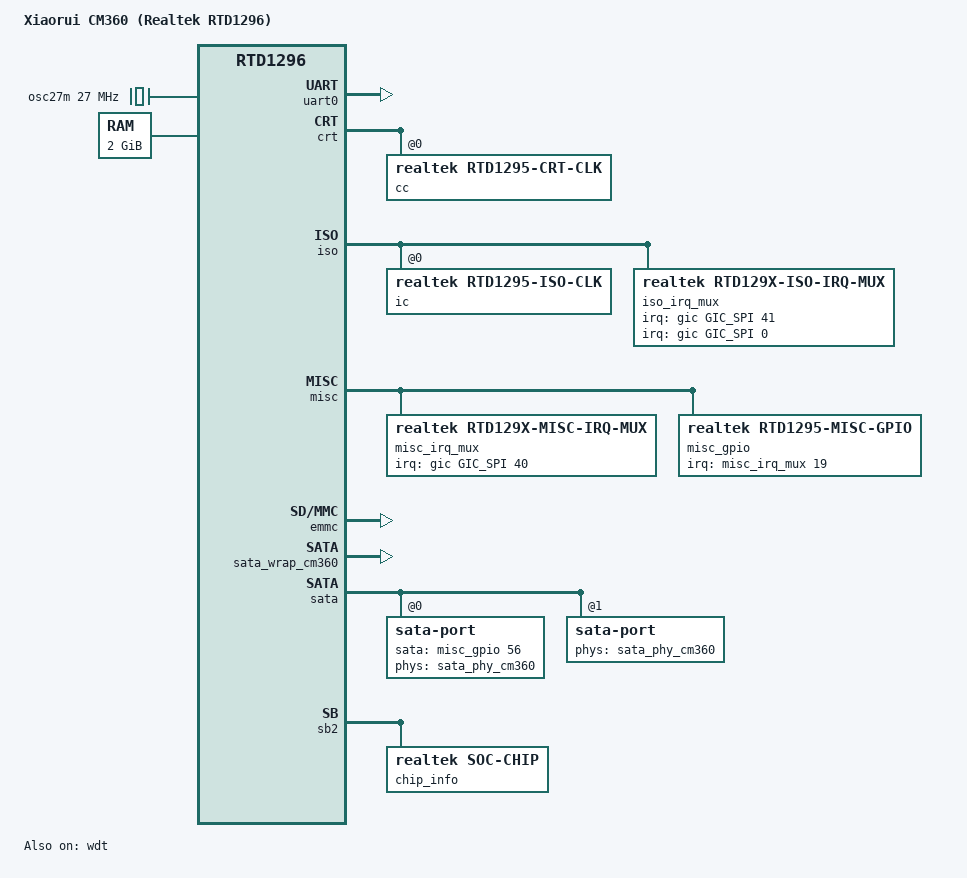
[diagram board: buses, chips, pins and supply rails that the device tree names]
// SPDX-License-Identifier: (GPL-2.0-or-later OR BSD-2-Clause)
/*
 * 小睿 CM360 —— Realtek RTD1296 (4x Cortex-A53, 2 GiB DDR4, 8 GiB eMMC)
 *
 * 板级 DTS：面向 XpressReal/linux 的 v6.6.54-xpressreal-t3 内核树。
 *
 * ─────────────────────────────────────────────────────────────────────
 * 为什么需要这份文件
 * ─────────────────────────────────────────────────────────────────────
 * 该 6.6 树是 Realtek 的「全家桶」驱动树：RTD119x/129x/139x/13xx/16xx 的
 * 驱动全部已经移植到 6.6（含 CCF 时钟、pinctrl、gpio、eMMC/SD/SATA/GMAC）。
 * 但 129x 的【板级 DTS】仍停留在上游主线那份极简骨架：
 *   rtd129x.dtsi 里只有 GIC / 几个 syscon / dw-low-reset / uart0~2 / wdt，
 *   没有任何存储、网络、时钟控制器、pinctrl、gpio 节点。
 *   rtd1295-*.dts / rtd1296-ds418.dts 也只开了 uart0，没开外设。
 * 所以「驱动齐、DTS 空」——本文件要做的就是把 1296 的外设实例化出来。
 *
 * ─────────────────────────────────────────────────────────────────────
 * 数据来源（唯一依据，勿凭记忆改）
 * ─────────────────────────────────────────────────────────────────────
 *   [V] = ~/WorkBuddy/.../rtd1296-fnnas/stage0/original-dtb.dts.txt
 *         原厂固件 DTB 反编译（compatible = "Realtek,rtd-1296"，
 *         chosen 里带 androidboot.hardware=kylin / syno_version=SYNO-DTB-DSM6-1-15157，
 *         即 CM360 = 厂商代号 kylin，出厂跑的是群晖 DSM 内核）
 *   [T] = 本树 arch/arm64/boot/dts/realtek/rtd13xx.dtsi
 *         同族节点模板（但 13xx 是 A55/PSCI/GIC@0xff100000，只能借结构不能照搬）
 *   [D] = 本树各驱动的 probe 代码（决定 DT 属性名与必需性）
 *
 * ─────────────────────────────────────────────────────────────────────
 * 第一版范围（刻意保守：只打开高置信度、且互不依赖的三项）
 * ─────────────────────────────────────────────────────────────────────
 *   已启用：cc(CRT 时钟/复位)  ic(ISO 时钟/复位)  nic(GMAC/RTL8168)
 *           sata(ahci_rtk + rbus 0x3ff60 的 sata-wrap syscon)  ← 2026-10-04 加入
 *           emmc(rtkemmc.c, compatible realtek,rtd1295-emmc)   ← 2026-10-05 换驱动
 *   已禁用（保留金坐标，待逐项验证后再翻 status）：sd / sdio
 *
 *   参考新增：[V2] = 厂商内核 BPI-W2-bsp 里的官方 1296 DTSI
 *         linux-rtk/arch/arm64/boot/dts/realtek/rtd129x/rtd-1296-sata.dtsi
 *         （Realtek 官方写法，SATA 节点的权威模板，本文件 SATA 段落照它对齐）
 *         [V3] = jjm2473/rtd1295-next（Linux 5.9）arch/arm64/boot/dts/
 *         realtek/rtd129x.dtsi —— 129x eMMC 节点的权威模板（本文件 §3 照它对齐）
 *
 *   SD/SDIO 仍不开的理由：
 *     - `sd`(rtk-sdmmc.c) 用 sd-power/sd-wp/sd-cd 三个 GPIO 做必需资源，
 *       而 1296 的 GPIO 控制器要挂在 irq-mux 上，irq-mux 的 129x 语义尚未
 *       在硬件上验证过。
 *     - eMMC 已从 dw_mmc_cqe-rtk.c 换成 rtkemmc.c（见 §3 证据链：
 *       16xxb 驱动的 pad 寄存器偏移在 1296 上全部落空 → deadbeef）。
 */

/dts-v1/;

#include "rtd1296.dtsi"			/* -> rtd129x.dtsi + A53 cpus + timer */
#include <dt-bindings/clock/rtd1295-clk.h>
#include <dt-bindings/reset/rtd1295-reset.h>
#include <dt-bindings/gpio/gpio.h>
#include <dt-bindings/interrupt-controller/arm-gic.h>

/ {
	compatible = "xpressreal,cm360", "realtek,rtd1296";
	model = "Xiaorui CM360 (Realtek RTD1296)";

	/*
	 * 27 MHz 系统晶振（板载无源晶振）。
	 *
	 * ★ 必须提供 "osc27m"（小写 m）这个名字：
	 *   clk-rtd1295-cc.c 里 pll_scpu/pll_bus/pll_dcsb/pll_ddsa/pll_ddsb/
	 *   pll_gpu/pll_ve1/pll_ve2 全部写成 CLK_HW_INIT(..., "osc27m", ...)，
	 *   clk-rtd1295-ic.c 里 clk_en_ur0/i2c0/i2c1 也是 "osc27m"。
	 *   而 rtd129x.dtsi 里已有的 osc27M 用的是【大写 M】，
	 *   名字对不上 -> 那些时钟会挂不上父节点（clk_register 失败/rate=0）。
	 *   所以这里再补一个同名（小写）的固定时钟。两个 fixed-clock 不冲突。
	 */
	osc27m: osc27m {
		compatible = "fixed-clock";
		clock-frequency = <27000000>;
		#clock-cells = <0>;
		clock-output-names = "osc27m";
	};

	/* [V] 厂商 DTB: 0x0 + 0x7ffe1000 (boot ROM 之后到 2 GiB) */
	memory@1f000 {
		device_type = "memory";
		reg = <0x1f000 0x7ffe1000>;
	};

	aliases {
		serial0 = &uart0;
	};

	chosen {
		stdout-path = "serial0:115200n8";
		/*
		 * earlycon 的第 5 个参数（时钟 27 MHz）不能省：
		 * uart0 真实时钟 = 27 MHz（[V] serial0@98007800 的
		 * clock-frequency = 0x019bfcc0 = 27000000）。不写它，earlycon 会按
		 * 默认 1.8432 MHz*16 = 29.4912 MHz 算分频，误差 9.2%，
		 * "Starting Kernel ..." 之后那 0.3 秒全是乱码。
		 * （厂商自己的 bootargs 也漏了这个参数 —— 见 [V] chosen。）
		 */
		bootargs = "console=ttyS0,115200 earlycon=uart8250,mmio32,0x98007800,115200,27000000 loglevel=8 ignore_loglevel";
	};

	/*
	 * ── SMP：从核唤醒（cpu1~cpu3）─────────────────────────────────────
	 *
	 * 症状（2026-10-05 及之前每次启动）：
	 *   [    0.225] /cpus/cpu@1: missing enable-method property
	 *   [    0.232] /cpus/cpu@2: missing enable-method property
	 *   [    0.235] /cpus/cpu@3: missing enable-method property
	 *   → 只有 CPU0 在线，`nproc`=1，多核调度/VPU/软解全残。
	 *
	 * 根因：arch/arm64/kernel/cpu_ops.c 的 cpu_read_enable_method() 读不到
	 *   enable-method 就直接返回 NULL → init_cpu_ops() 返回 -ENODEV，
	 *   从核根本不会进入 bring-up 流程。上游 rtd1296.dtsi 里 cpus 段
	 *   只有 device_type/compatible/reg/next-level-cache，没给 enable-method。
	 *
	 * ── 为什么是 "spin-table"（而不是原厂的 "rtk-spin-table"）────────────
	 *
	 * [V] 原厂 DTB 写的是 enable-method = "rtk-spin-table"
	 *     + cpu-release-addr = <0x0 0x9801aa44>。
	 *   但主线 cpu_ops.c 的 dt_supported_cpu_ops[] 只认两个字面量：
	 *       "spin-table" → smp_spin_table_ops
	 *       "psci"       → cpu_psci_ops
	 *   名字对不上 → cpu_get_ops() 返回 NULL → pr_warn("Unsupported
	 *   enable-method: rtk-spin-table") → 从核照样起不来。
	 *
	 * ── 但硬件到底是不是标准 spin-table 协议？去厂商 u-boot 里查源头 ──
	 *
	 * 权威出处（BPI-W2-bsp 仓库，tag w2-4.9-v1.1）：
	 *   u-boot-rtk/arch/arm/include/asm/arch-rtd1295/cpu.h
	 *       #define CPU_RELEASE_ADDR  0x9801aa44      ← 与 [V] 完全一致
	 *   u-boot-rtk/arch/arm/cpu/armv8/rtd1295/cpu.c  bootup_slave_cpu()
	 *       __raw_writel(CONFIG_SYS_TEXT_BASE, CPU_RELEASE_ADDR);  // 先给个默认值
	 *       ...唤醒从核、等它们进 WFE...
	 *       // 关键收尾（原文注释）：
	 *       // "clear the CPU release addr so it will stay in wfe loop
	 *       //  until kernel fill it with correct start addr"
	 *       __raw_writel(0x00000000, CPU_RELEASE_ADDR);
	 *
	 * 即：从核（B00 及以后）被 boot ROM 直接送进 FSBL，然后**在
	 * CPU_RELEASE_ADDR 处轮询，等内核往里填 64 位物理地址**（填 0 就
	 * 一直待在 WFE 循环里）。这与 ARM 官方 spin-table 协议**逐位等价**：
	 *   secondary CPU 轮询 cpu-release-addr；主核写入
	 *   __pa_symbol(secondary_holding_pen) 并 sev → 从核跳过去。
	 * ⇒ 主线 smp_spin_table_ops 正是按这个协议实现的
	 *   （arch/arm64/kernel/smp_spin_table.c：cpu_prepare 里
	 *    writeq_relaxed(pa_holding_pen, release_addr) + dcache flush + sev）。
	 *   所以只需把 enable-method 改名成 "spin-table"，不用写任何驱动代码。
	 *
	 * ── 两个必须对齐的细节 ──────────────────────────────────────────────
	 * 1) cpu-release-addr 必须是**两个 cell**（of_property_read_u64 读 64 位）。
	 *    cpus 的 #address-cells=<2> 由 rtd1296.dtsi 提供，这里继承。
	 *    原厂 DTB 是 <0x0 0x9801aa44>，照抄。
	 * 2) cpu@0（boot CPU）**不必**给 enable-method —— cpu_read_enable_method()
	 *    对 cpu==0 不会告警（见源码注释 "The boot CPU may not have an
	 *    enable method"）。但给了也无害，这里四个核统一给，便于阅读。
	 */
	cpus {
		cpu0: cpu@0 {
			enable-method = "spin-table";
			cpu-release-addr = <0x0 0x9801aa44>;
		};

		cpu1: cpu@1 {
			enable-method = "spin-table";
			cpu-release-addr = <0x0 0x9801aa44>;
		};

		cpu2: cpu@2 {
			enable-method = "spin-table";
			cpu-release-addr = <0x0 0x9801aa44>;
		};

		cpu3: cpu@3 {
			enable-method = "spin-table";
			cpu-release-addr = <0x0 0x9801aa44>;
		};
	};
};

/* ── 串口控制台 ─────────────────────────────────────────────────────── */
&uart0 {
	status = "okay";
	clock-frequency = <27000000>;

	/*
	 * ★ 第 1 处：把 clk_ignore_unused 这颗"总闸"换成正经修法。
	 *
	 * 之前的症状（见 board.sh 里那段长注释）：
	 *   [1.415032] clk: Disabling unused clocks
	 *   [1.513068] clk_en_ur0: clk_regmap_gate_disable_unused   ← 日志到此为止
	 * 根因：uart0 没有 `clocks` 属性 → clk_en_ur0 被判"无人使用" →
	 * late_initcall 的 clk_disable_unused() 把它 gate 掉 → 串口时钟停 →
	 * 连 Ctrl-C 都不回显，只能物理断电。
	 *
	 * 现在由驱动认领这个 gate（8250_dw 会 clk_prepare_enable），
	 * 引用计数 > 0，clk_disable_unused() 自然就不会碰它。
	 *
	 * ★ 注意 gate 在【ISO】控制器里，不在 CRT：
	 *   clk-rtd1295-ic.c 里 clk_en_ur0 的 gate_ofs = 0x8c / bit_idx = 8，
	 *   父时钟 "osc27m"（本文件顶部那个小写名的 fixed-clock），
	 *   → clk_get_rate() = 27 MHz，正好等于上面的 clock-frequency。
	 *   这一步必须确保父时钟能解析出来：8250_dw 里有一句
	 *       if (data->clk) p->uartclk = clk_get_rate(data->clk);
	 *       if (!p->uartclk) return dev_err_probe(dev, -EINVAL, "clock rate not defined\n");
	 *   —— 父时钟挂不上（rate = 0）会让 probe 直接失败、控制台彻底没有。
	 *   所以本文件顶部补的那个小写 osc27m 是这一行的前置条件。
	 */
	clocks = <&ic RTD1295_ISO_CLK_EN_UR0>;

	/*
	 * ★ 第 2 处：给串口一个【真中断】。
	 *
	 * 不写这句时的实测日志：
	 *   [0.844228] dw-apb-uart 98007800.serial: error -ENXIO: IRQ index 0 not found
	 *   [0.857627] 98007800.serial: ttyS0 at MMIO 0x98007800 (irq = 0, ...)
	 * irq = 0 意味着纯轮询：RX FIFO 靠定时器慢慢捞，输入一快就溢出。
	 *
	 * ISO mux 里的 bit 编号即中断号（#interrupt-cells = <1>，
	 * 驱动用 irq_domain_xlate_onecell）：
	 *   rtd129x_iso_isr_bits 里 RTD129X_ISO_ISR_UR0_SHIFT = 2
	 *   → <&iso_irq_mux 2>
	 * 与厂商原厂 DTB 的 interrupts = <1 2>（mux 1 = ISO，bit 2）一致。
	 */
	interrupts-extended = <&iso_irq_mux 2>;
};

/*
 * 看门狗：**用来修 reboot**（2026-10-05 改）。
 *
 * 历史：早先这里写的是 status = "disabled"，理由是"先排除 u-boot 已启动看门狗
 *   → 跑几十秒神秘重启"这类难定位问题。那个理由在当时成立。
 *
 * 但现在它是这台机器**唯一的整机复位途径**：
 *   - CPU 用 enable-method = "spin-table"（不是 PSCI），内核里没有 psci 节点；
 *   - 内核树里没有 Realtek 的 rtk-rstctrl / soc restart 驱动；
 *   - rtd119x_wdt 原本也没有 .restart 回调。
 *   结果 `reboot` 走到 arch/arm64 兜底分支：pr_emerg("Reboot failed -- System halted")
 *   然后 while(1) 死循环 —— 实测就是"关得掉系统、串口静默、只能手动断电"。
 *
 * 修法（两层）：
 *   1) 内核侧：patches/0004-wdt-restart.patch 给 rtd119x_wdt 加 .restart 回调
 *      （设 1s 最短超时 + 清计数 + 使能，然后不再喂狗，让硬件拉整机复位），
 *      并用 watchdog_set_restart_priority(&wdd, 128) 注册；
 *   2) DTS 侧：把节点打开（本段），驱动才会 probe。
 *
 * 地址核对：本节点在 &iso（syscon@7000，父总线 rbus 基址 0x98000000）下 reg = <0x680>，
 *   ⇒ 实际寄存器基址 0x98007680，与**原厂 DTB** 的 watchdog@0x98007680 完全一致。
 *
 * 注意：驱动 probe 时会主动 rtd119x_wdt_stop()，所以只要没人打开 /dev/watchdog，
 *   它平时是停着的，不会自己跑起来复位。
 */
&wdt {
	status = "okay";
};

/* ═══════════════════════════════════════════════════════════════════════
 * 1. 时钟 / 复位控制器
 * ═══════════════════════════════════════════════════════════════════════
 * 驱动：drivers/clk/realtek/clk-rtd1295-cc.c  (compatible realtek,rtd1295-crt-clk)
 *       drivers/clk/realtek/clk-rtd1295-ic.c  (compatible realtek,rtd1295-iso-clk)
 * probe：rtk_clk_probe() -> rtk_clk_setup_map()，只吃 reg[0]，ioremap->regmap。
 *
 * 1296 与 1295 共用同一套 CRT/ISO 寄存器布局，所以直接复用 1295 驱动：
 *   CRT 闸门寄存器在 0x98000000 块内，reset bank 位于 offset 0x00/0x04/0x50，
 *     与头文件 rtd1295-reset.h 的 BANK_1(0x0000)/BANK_2(0x0100)/BANK_4(0x0200)
 *     一一对应（高字节选 bank，低字节选 bit）。
 *   ISO 闸门/复位在 0x98007000 块内，clk-rtd1295-ic.c 只声明一个 reset bank
 *     offset 0x88 —— 正好就是 rtd129x.dtsi 里 iso_reset@88 那个地址。
 *
 * ⚠ 已知小风险：&crt 下 rtd129x.dtsi 已经有 reset1..reset4(snps,dw-low-reset)，
 *   其中 reset1 也在 @0。本文件新增的 clock-controller@0 与它同 unit-address
 *   （不同 node name）。dtc 一般只给 unique_unit_address 警告、不报错。
 *   若真实构建时被当错误拦下，就去 rtd129x.dtsi 删掉那 4 个 dw-low-reset 节点
 *   （它们的职责已由 cc/ic 的 CCF reset 覆盖）。
 */
&crt {
	cc: clock-controller@0 {
		compatible = "realtek,rtd1295-crt-clk";
		reg = <0x0 0x1000>;
		#clock-cells = <1>;
		#reset-cells = <1>;
	};
};

&iso {
	ic: clock-controller@0 {
		compatible = "realtek,rtd1295-iso-clk";
		reg = <0x0 0x1000>;
		#clock-cells = <1>;
		#reset-cells = <1>;
	};

	/*
	 * ISO 中断复用器（ISO irq-mux）—— uart0 等低速外设的中断都从这里汇出。
	 *
	 * ★ 为什么必须有它：厂商原厂 DTB 里 serial0@98007800 的
	 *   interrupt-parent 就是这个 intc@9801B000（compatible 为
	 *   "Realtek,rtk-irq-mux"，phandle 0x15），
	 *       interrupts = <0x1 0x2>;   → mux 1（ISO）、bit 2
	 *   而 rtd129x.dtsi 里 uart0 连 interrupts 都没有。没有中断的 8250 会
	 *   退化到纯轮询，RX FIFO 排不空 —— 这正是我们前几轮反复被咬的
	 *   "ttyS ttyS0: N input overrun(s)"（命令在第 32 字符被截断）的根因。
	 *
	 * ★ 绑定对不上老节点名：本树 6.6 的驱动是 drivers/irqchip/irq-realtek-mux.c
	 *   （CONFIG_REALTEK_DHC_INTC，本 defconfig 已 =y），它只认
	 *       realtek,rtd129x-iso-irq-mux  /  realtek,rtd129x-misc-irq-mux
	 *   这种「每域一个节点」的新写法，不吃厂商老的单节点 + Realtek,mux-nr。
	 *   写法照同族的 rtd13xxd.dtsi / rtd1325.dtsi 抄：
	 *     syscon = <&iso> 而不是 reg —— 驱动用
	 *     syscon_regmap_lookup_by_phandle(node, "syscon") 拿寄存器基址，
	 *     所以节点本身不需要 reg（iso syscon 的 reg 就是 0x98007000）。
	 *
	 * ★ 两个 subset（驱动 rtd129x_iso_irq_mux_info.cfg_num = 2，
	 *   对应 cfg[] = { 0xffffcffe, 0x00003001 }）→
	 *   interrupts-extended 必须给【两条】父中断，按 index 取：
	 *     index 0 = 主 mux   → GIC SPI 41
	 *     index 1 = rtc 子集  → GIC SPI 0
	 *   SPI 41 有硬证据：厂商老节点里 mux1（ISO）的父中断就是
	 *   <0 0x29 4> = SPI 41，且 13xx 全家族 ISO mux 也都写 SPI 41。
	 *   SPI 0 是照 13xx 家族抄的（厂商 1296 DTB 里没有任何节点占用 SPI 0，
	 *   所以即便猜错也只是多挂一个没人触发的 handler，不影响 uart0 ——
	 *   uart0 的 bit 2 落在 subset 0 的 0xffffcffe 里）。
	 *
	 * ★ 寄存器偏移由驱动硬编码：isr@0x0 / umsk_isr@0x4 / scpu_int_en@0x40，
	 *   与厂商老节点的 intr-status=<0xc 0x0>、intr-en=<0x80 0x40> 里
	 *   "mux1 = ISO" 那一半完全吻合，说明 syscon 基址取 0x98007000 是对的。
	 */
	iso_irq_mux: iso_irq_mux {
		compatible = "realtek,rtd129x-iso-irq-mux";
		syscon = <&iso>;
		interrupts-extended = <&gic GIC_SPI 41 IRQ_TYPE_LEVEL_HIGH>,
				      <&gic GIC_SPI 0 IRQ_TYPE_LEVEL_HIGH>;
		interrupt-controller;
		#address-cells = <0>;
		#interrupt-cells = <1>;
	};
};

/* ═══════════════════════════════════════════════════════════════════════
 * 1.5 MISC 中断复用器 + MISC GPIO 控制器 —— 【2026-10-04 加入，为硬盘供电】
 * ═══════════════════════════════════════════════════════════════════════
 * ★ 为什么必须有：**12T 硬盘根本没上电**（用户实测盘不转）。官方 1296 dtsi
 *   里 sata-port@0 的 gpios = <&rtk_misc_gpio 56 1 1>，vendor 4.9 ahci_rtk.c
 *   probe 时 gpio_set_value(misc_gpio56, 1) 拉高的就是盘位供电脚。前面所有
 *   PHY 侧修复都没错，但都是在给一个没电的盘做配置。6.6 ahci_rtk.c:178
 *   在端口子节点上找 "sata-gpios"（GPIOD_OUT_HIGH 申请），所以必须把
 *   misc GPIO 控制器实例化出来。
 *
 * ── misc_irq_mux（MISC 中断复用器）──
 *   6.6 驱动 drivers/irqchip/irq-realtek-mux.c
 *   compatible "realtek,rtd129x-misc-irq-mux"
 *
 *   ★ 前置：已修驱动 rtd129x-misc-irq-mux 的 .data 复制粘贴 bug
 *     （原误指向 rtd129x_iso_irq_mux_info → 寄存器偏移 isr 0x0c/umsk 0x08/
 *     int_en 0x80 与掩码表全错）。修复后才是 misc 自己的布局。
 *
 *   [V] 原厂 DTB 老式单节点双域（intc@9801b000, phandle 0x15）：
 *       interrupts = <0 0x28 4>, <0 0x29 4>  → misc 域父中断 = GIC SPI 40
 *                                              （iso 域 = SPI 41，已另行实证）
 *   寄存器（misc syscon 0x9801b000 内，驱动硬编码）：
 *       isr 0x0c / umsk_isr 0x08 / scpu_int_en 0x80 —— 与原厂
 *       intr-status=<0x0c>、intr-en=<0x80> 的 misc 半边逐字吻合。
 *
 *   ★ 只给 1 条父中断（SPI 40）：129x 的 misc 域原厂就只有这一个父中断
 *     （老节点 misc→SPI40 / iso→SPI41 正是两半）。6.6 驱动 cfg_num=2，
 *     subset 1 是 "wdt"（cfg 0x00000004），129x 上没有可验证的 GIC 线；
 *     probe 对缺 subset 只 WARN 不失败（realtek_irq_mux_probe 对
 *     init_subset 返回值仅 WARN），GPIO 用的 bit 19/20 落在 subset 0 的
 *     cfg 0xfffffff2 内，功能完整。
 *
 * ── misc_gpio（MISC GPIO 控制器，101 个 GPIO）──
 *   6.6 驱动 drivers/gpio/gpio-rtd.c
 *   compatible "realtek,rtd1295-misc-gpio"
 *     num_gpios=101 与 [V] 的 0x65 一致；DIR 0x0/4/8/c、DATO 0x10/14/18/1c
 *     与 vendor 4.9 gpio-rtd129x.c 完全一致（同一块硬件）。
 *
 *   [V] rtk_misc_gpio@9801b100:
 *       reg = <0x9801b000 0x100>, <0x9801b100 0x100>
 *         ★★ 段序注意（2026-10-05 实测定案）：vendor 驱动 gpio-rtd129x.c
 *         probe 是 of_iomap(node,0)=irq_regs_base、of_iomap(node,1)=
 *         gpio_regs_base —— 即【段0 = 0x9801b000 = 中断 ISR/UMSK_ISR，
 *         段1 = 0x9801b100 = GPIO DIR/DATO/DATI】（节点名 @9801b100 互证）。
 *         6.6 主线 gpio-rtd 相反：resource0=GPIO、resource1=IRQ
 *         （realtek,otto-gpio.yaml 也是 reg[0]=GPIO）。
 *         所以本节点 reg 顺序要【相对 vendor 交换】：
 *           段0 = 0x100 偏移（= 0x9801b100）给 GPIO，
 *           段1 = 0x0 偏移（= 0x9801b000）给中断。
 *         2026-10-05 00:0x 的 #12 boot 实测：按 vendor 段序写 reg 时
 *         全窗口 64 字 dump 在 gpiod/原始写前后零变化、DIR 读回 0xdeadbeef
 *         —— 写全打进了中断寄存器区，盘永远得不到电。
 *       interrupts = <0 0x13>, <0 0x14> → mux 0(misc) bit 19/20
 *         （老绑定 #interrupt-cells=2：cell0=mux 域号，cell1=bit）
 *   同族先例 [T] rtd13xx.dtsi: iso-gpio 节点 interrupt-parent=<&iso_irq_mux>,
 *       interrupts = <19>, <20> —— bit 19/20 与 [V] 互证。
 *
 *   ★ probe 链依赖：ahci_rtk -EPROBE_DEFER→ 等 gpio-rtd → 等 misc_irq_mux
 *     （irq_of_parse_and_map 需要 mux 的 irq_domain 已建）。
 *     mux 驱动是 core_initcall，顺序天然满足。
 *
 *   ★ #gpio-cells = <2>（新绑定标准）：引用写 <&misc_gpio 56 GPIO_ACTIVE_HIGH>。
 *     vendor 老写法 3 cell <56 1 1> 的"output+high"语义由 6.6 驱动侧的
 *     GPIOD_OUT_HIGH 承担，不再走 flags。
 *
 *   ★ 没有 pinctrl，故意不给 gpio-ranges：gpio-ranges 需要指向一个真实
 *     pinctrl 控制器，本板 pinctrl 域映射尚未验证；缺 ranges 只影响
 *     pinmux 联动，纯 GPIO 输出/输入完全不受影响。
 */
&misc {
	misc_irq_mux: misc_irq_mux {
		compatible = "realtek,rtd129x-misc-irq-mux";
		syscon = <&misc>;
		interrupts-extended = <&gic GIC_SPI 40 IRQ_TYPE_LEVEL_HIGH>;
		interrupt-controller;
		#address-cells = <0>;
		#interrupt-cells = <1>;
	};

	misc_gpio: gpio@0 {
		compatible = "realtek,rtd1295-misc-gpio";
		/* ★ 段序相对 vendor 交换（见上方 [V] 注释）：
		 *   段0 = 0x9801b100 = GPIO DIR/DATO/DATI（6.6 驱动 data->base）
		 *   段1 = 0x9801b000 = 中断 ISR/UMSK_ISR（6.6 驱动 data->irq_base） */
		reg = <0x100 0x100>,
		      <0x0 0x100>;
		interrupt-parent = <&misc_irq_mux>;
		interrupts = <19>, <20>;	/* assert / deassert */
		gpio-controller;
		#gpio-cells = <2>;
		interrupt-controller;
		#address-cells = <0>;
		#interrupt-cells = <1>;
	};
};

/* ═══════════════════════════════════════════════════════════════════════
 * 2. 以太网 GMAC —— RTL8168 IP 核（SoC 总线挂载，非 PCIe）
 * ═══════════════════════════════════════════════════════════════════════
 * 驱动：drivers/net/ethernet/realtek/r8169soc.c
 *       compatible "realtek,rtd129x-r8169soc" -> rtd129x_info
 *
 * [V] gmac@98016000:
 *     reg        = <0x98016000 0x1000>, <0x98007000 0x1000>
 *     interrupts = <0 0x16 4>   -> GIC SPI 22（★ 直连 GIC，不经 irq-mux）
 *     mac-version = 0x2a, rtl-config = 1, rtl-features = 2, led-cfg = 0x00002070
 *
 * 驱动 probe 的【强制】项（见 r8169soc.c 11474~11554）：
 *     realtek,iso  —— 缺失直接 -ENODEV
 *     realtek,sb2  —— 缺失且 chip==rtd129x_info 时 -ENODEV（129x 专属强制）
 *     其余 realtek,sbx / scpu_wrapper / pinctrl / sds 对 129x【可省】
 * 两者在本树 rtd129x.dtsi 都已存在：iso=syscon@7000, sb2=syscon@1a000。
 *
 * 时钟：rtd129x_reset_phy_gmac() 会 clk_get("etn")/("etn_sys")/("etn_250m")
 *      —— 三个都要给。"etn" 在 CRT 块(闸门基址 0xc, bit 9)，另两个在 ISO 块。
 * 复位：reset_control_get_exclusive("gmac")/("gphy")，对应 ISO reset bank。
 *
 * phy_0 子节点（厂商那版有，用 iso_irq_mux 报 PHY 中断）是【可选】的
 * （源码 if (phy_0) { ... } 整段包起来），等 irq-mux 验证后再补。
 */
&rbus {
	nic: r8169soc@16000 {
		compatible = "realtek,rtd129x-r8169soc";
		reg = <0x16000 0x1000>;		/* 0x98016000 ETN */
		realtek,iso = <&iso>;
		realtek,sb2 = <&sb2>;
		interrupts = <GIC_SPI 22 IRQ_TYPE_LEVEL_HIGH>;

		clocks = <&cc RTD1295_CRT_CLK_EN_ETN>,
			 <&ic RTD1295_ISO_CLK_EN_ETN_SYS>,
			 <&ic RTD1295_ISO_CLK_EN_ETN_250M>;
		clock-names = "etn", "etn_sys", "etn_250m";

		resets = <&ic RTD1295_ISO_RSTN_GMAC>,
			 <&ic RTD1295_ISO_RSTN_GPHY>;
		reset-names = "gmac", "gphy";

		/*
		 * ★★ 2026-10-05 定案：照抄原厂 CM360 DTB —— 【不给 output-mode】！
		 *
		 *   驱动默认 output_mode = 0 = OUTPUT_EMBEDDED_PHY，于是
		 *   rtd129x_mac_setup() 走 MII 分支（内嵌 GPHY 通路，源码注释：
		 *   "GMAC data path select MII-like(embedded GPHY)"）。
		 *
		 *   之前我们自作主张给 output-mode = <2>（RGMII->外置 PHY），
		 *   MAC 数据通路被配成 RGMII + 切了 RGMII/MDIO 到 GMAC：
		 *   症状 = 链路能协商 up、TX 能出去，但 **RX 恒 0**（主机 ping 板子
		 *   100% 丢包，板子 RX packets 一直是 0）。
		 *
		 *   原厂 DTB（stage0/original-dtb.dts.txt）gmac 节点只有
		 *   rtl-config/mac-version/rtl-features/led-cfg + status，
		 *   没有任何 output-mode/voltage/delay/pinctrl。
		 *   我们驱动不读前三个（芯片信息来自 compatible 匹配），只读 led-cfg，
		 *   故用原厂值 0x00002070。
		 */
		led-cfg = <0x00002070>;
		status = "okay";
	};
};

/* ═══════════════════════════════════════════════════════════════════════
 * 3. eMMC —— 【已开启】8 GiB，是 fnOS 系统盘的载体
 * ═══════════════════════════════════════════════════════════════════════
 * 驱动：drivers/mmc/host/rtkemmc.c   ← 2026-10-05 换驱动
 *       compatible "realtek,rtd1295-emmc"（不是上一版的 rtd-dw-cqe-emmc）
 *
 * ★★ 为什么换驱动（上一版走不通的完整证据链）★★
 *   上一版用 16xxb 的 dw_mmc_cqe-rtk.c（compatible "realtek,rtd-dw-cqe-emmc"），
 *   依据是"寄存器偏移与 1296 同源"。第 3 次上板用 emmcprobe 内核模块转储
 *   寄存器，把这条路彻底否掉了：
 *
 *     PLL_EMMC1(0x1f0)=00000003  ↑ 我们的时钟补丁在硬件层是对的
 *     PLL_EMMC3(0x1f8)=00a64388      （bit1=PLL 运行、ssc_div_n=0xa6）
 *     PLL_EMMC4(0x1fc)=00000007
 *     PWREN=0、CLKENA=0              ← 失败初始化后 mmc_power_off 的残留
 *     DQ_CTRL_SET (0x50c)=deadbeef   ┐
 *     CMD_CTRL_SET(0x550)=deadbeef   │ 16xxb 驱动写的 pad 控制寄存器
 *     WCMD        (0x554)=deadbeef   │ 在 1295/1296 上【根本不存在】，
 *     RCMD        (0x558)=deadbeef   │ 写进去全变 deadbeef（总线无响应）
 *     PLL_STATUS  (0x55c)=deadbeef   ┘
 *
 *   权威依据：jjm2473/rtd1295-next（Linux 5.9，commit 2111432
 *   "emmc: add rtk1296 emmc driver"）里为 rtd1295/1296 专写的 rtkemmc.c
 *   + reg_mmc.h。对照后可确认 1295 的真实寄存器地图：
 *     CR_BASE_ADDR=0x00000000（映射到 0x98012000）
 *     EMMC_CMD = 0x02c        （16xxb 驱动当 SDMMC_CLK_CTRL_R 写）
 *     pad 驱动寄存器在 0x600+   （EMMC_PDRIVE_NF0..4 = 0x620..0x630，
 *                               EMMC_muxpad0 = 0x600）
 *     0x50c / 0x550 / 0x554 / 0x558 / 0x55c 在 1295 上【不存在】
 *   ⇒ 偏移不同源，dw_mmc_cqe-rtk.c 在 1296 上只会把 pad 配错，卡永不回话。
 *
 * ★ 结论：走 jjm2473 的 rtkemmc.c（5617 行，原厂 in-house 控制器驱动）。
 *   已移植进 6.6 树（drivers/mmc/host/rtkemmc.c + reg_mmc.h/reg_iso.h/
 *   reg_sys.h/rtkemmc.h/mmc_debug.h），并补了：
 *     a) drivers/soc/realtek/rtd129x/rtd129x_lockapi.c + include/soc/realtek/
 *        rtd129x_lockapi.h（DBG_PORT 硬件锁；CONFIG_REALTEK_EMMC_LOCKAPI）
 *     b) drivers/mmc/core/mmc.c：rtkemmc_select_card_type/_timing/_hs200_tuning
 *        三个导出 + generic_cmd6_time=3000 + mmc_select_ddr50/mmc_ddr50_tuning
 *        + HS200/HS400 路径的 RTK 变体（见 stage2/patches/0002-*.patch）
 *     c) include/linux/mmc/host.h：CONFIG_ARCH_REALTEK 下加 u32 mode
 *     d) arch/arm64/Kconfig.platforms：加 CONFIG_ARCH_RTD129x
 *     e) MMC_RTK_EMMC（去掉了原补丁的 select REALTEK_MCP：我们把驱动里的
 *        `#define SHA256` 关掉，用 memcmp 回退，就不必再拖 rtk_mcp 进来）
 *
 * ★ 这个驱动自己干 pad 复用/驱动能力/相位，【不需要 pinctrl】：
 *   pad 段（reg[0] 的 0x600+）、CRT 段（reg[1] 的 0x1f0+）、SB2 段（reg[2]）
 *   全部 of_iomap 进去自己写 —— 正是上一版缺的那一环。
 *
 * [V] emmc@98012000（4 段 reg，与 jjm2473 rtd129x.dtsi 逐字一致）：
 *     reg = <0x98012000 0xa00>,   ← reg[0] eMMC CR
 *           <0x98000000 0x600>,   ← reg[1] CRT（SYS_PLL_EMMC1..4 @0x1f0）
 *           <0x9801a000 0x80>,    ← reg[2] SB2（+0x20 处写一个 mux 位）
 *           <0x9801b000 0x150>    ← reg[3] MISC（仅调试路径用，先留着）
 *     interrupts = <GIC_SPI 42 IRQ_TYPE_LEVEL_HIGH>
 *
 * ★ clocks 名字必须是 "emmc"/"emmc_ip"/"cr"（驱动 devm_clk_get 按名取）。
 *   "cr" = EMMC 的 CR 闸门，1295 的 SD/SDIO/eMMC 共用同一条 DMA 总线，
 *   即使没插 SD 卡也要开（原注释在 rtkemmc.c 里）。
 *   vp0/vp1 相位抽头【不再需要】—— rtkemmc 直接读写 SYS_PLL_EMMC1 的
 *   VP0/VP1 位域做相位调优，不再走 CCF 的 phase clk。
 *
 * ★ speed-step：0=sdr50 1=ddr50 2=hs200 3=hs400。
 *   取 2（hs200）—— 这是 jjm2473 在 rtd1296-saola 上验证过的取值。
 *   驱动按需 of_get_property 读，缺 pddrive_* 只是不打 pad 驱动能力，
 *   phase_tuning 缺省会退化成"内核自己调相位"。
 */
&rbus {
	emmc: emmc@12000 {
		compatible = "realtek,rtd1295-emmc";
		reg = <0x12000 0xa00>,
		      <0x00000 0x600>,
		      <0x1a000 0x80>,
		      <0x1b000 0x150>;
		interrupts = <GIC_SPI 42 IRQ_TYPE_LEVEL_HIGH>;

		clocks = <&cc RTD1295_CRT_CLK_EN_EMMC>,
			 <&cc RTD1295_CRT_CLK_EN_EMMC_IP>,
			 <&cc RTD1295_CRT_CLK_EN_CR>;
		clock-names = "emmc", "emmc_ip", "cr";

		resets = <&cc RTD1295_CRT_RSTN_EMMC>;
		reset-names = "emmc";

		speed-step = <2>;

		/*
		 * pad 驱动能力（第 1 个数字是"启用"标志，后面 4 个对应
		 * pddrive_nf0..nf3）。s0 给 sdr50 用，s2 给 hs200 用。
		 * 数值取自 jjm2473 的 rtd129x.dtsi（原厂 1296 板值）。
		 */
		pddrive_nf_s0 = <1 0x77 0x77 0x77 0x33>;
		pddrive_nf_s2 = <1 0xbb 0xbb 0xbb 0x33>;

		/* tx/rx 相位由内核自己 tune（0 0 = 都交给驱动） */
		phase_tuning = <0 0>;

		status = "okay";
	};
};

/* ═══════════════════════════════════════════════════════════════════════
 * 4. SD 卡 —— 【第一版 disabled】被 GPIO 控制器挡住
 * ═══════════════════════════════════════════════════════════════════════
 * 驱动：drivers/mmc/host/rtk-sdmmc.c，compatible "realtek,rtd129x-sdmmc"
 *       ★ 该驱动同时认 rtd129x / rtd13xx / rtd1619b，129x 是明确支持的
 *
 * [V] sdmmc@98010400（5 段 reg）:
 *     reg = <0x98000000 0x400>, <0x98010400 0x200>, <0x9801a000 0x400>,
 *           <0x98012000 0xa00>, <0x98010a00 0x40>
 *     interrupts = <0 0x2c 4>   -> GIC SPI 44（直连 GIC）
 *
 * 阻塞点：probe 里 sd-power / sd-wp / sd-cd 三个 GPIO 是【必需】资源
 *   （devm_gpiod_get 失败即报错），而 1296 的 GPIO 控制器
 *   (compatible realtek,rtd1295-misc-gpio / rtd1295-iso-gpio) 的
 *   interrupt-parent 必须指向 irq-mux。irq-mux 的 129x 版在驱动里
 *   声明了 2 个子集(rtd129x_iso_irq_cfgs[] 有 2 项)，其 GIC IRQ 归属
 *   （iso=SPI41? misc=SPI40?）需实测确认。
 *
 * 故顺序：先落 GPIO + irq-mux -> 再开 SD。
 */
&rbus {
	sd: sdmmc@10400 {
		compatible = "realtek,rtd129x-sdmmc";
		reg = <0x10400 0x200>,
		      <0x00000 0x400>,
		      <0x1a000 0x400>,
		      <0x12000 0xa00>,
		      <0x10a00 0x40>;
		interrupts = <GIC_SPI 44 IRQ_TYPE_LEVEL_HIGH>;

		clocks = <&cc RTD1295_CRT_CLK_EN_SDIO>,	/* TODO: 1295 无 CLK_EN_SD，待确认此映射 */
			 <&cc RTD1295_CRT_CLK_EN_SD_IP>;
		clock-names = "sd", "sd_ip";
		status = "disabled";		/* TODO 依赖 gpio + irq-mux */
	};
};

/* ═══════════════════════════════════════════════════════════════════════
 * 5. SATA —— 【2026-10-04 开启】
 * ═══════════════════════════════════════════════════════════════════════
 * 驱动：drivers/ata/ahci_rtk.c，compatible "realtek,ahci-sata"
 *   probe 四件事（任一不满足就失败）：
 *     ① of_parse_phandle("realtek,satawrap") → device_node_to_regmap()
 *        ⇒ 目标节点必须是【带 reg 的 syscon 块】，否则
 *          "failed to remap sata wrapper reg" 直接返回。
 *     ② ahci_platform_get_resources(AHCI_PLATFORM_GET_RESETS)：
 *        - clocks 用 devm_clk_bulk_get_all()  ⇒ 多个时钟**不需要** clock-names
 *        - resets 用 reset_control_array_get_optional_shared() ⇒ 节点级 resets 可选
 *          且 ahci_platform_enable_resources() 会对**整组**做 deassert
 *          （libahci_platform.c:496 / :537 / :163）
 *        - nports = 子节点数，无子节点时为 1（libahci_platform.c:550-564）
 *     ③ 每个 sata-port 子节点：
 *        - **必须有 `reg`**（libahci_platform.c:587-591 缺 reg 直接 -EINVAL）
 *        - **`resets` 也是强制的**：of_reset_control_get_by_index(child,0)
 *          缺了返回 -ENOENT，驱动 IS_ERR 后直接 return（reset/core.c:838-843）
 *        - `phys` 可选（缺 → hpriv->phys[port] = NULL，不报错）
 *        - `sata-gpios` 可选（缺 → 只 dev_warn；但若 gpio 控制器未就绪
 *          会返回 -EPROBE_DEFER 而挂住 probe，故本轮**刻意不写**）
 *     ④ rtk_sata_init() 只在 for_each_available_child_of_node 循环里按端口调用
 *        （ahci_rtk.c:169-194），所以【必须有 sata-port 子节点】，
 *        否则 wrapper 里的 MAC_CLKEN / PORT_EN 不会被置位。
 *
 * ── ★★ 金坐标（来源：厂商内核 BPI-W2-bsp 官方 DTSI + 原厂 DTB 交叉验证）──
 * 官方 linux-rtk/.../rtd129x/rtd-1296-sata.dtsi：
 *   sata_phy@9803FF60 { reg = <0x9803FF60 0x100>, <0x9801A980 0x10>; }
 *   sata@9803F000 {
 *       clocks = <&clk_en_1 2>, <&clk_en_1 7>, <&clk_en_2 25>, <&clk_en_2 26>;
 *       sata-port@0 { reg=<0>; phys=<&sata_phy 0>;
 *                     resets = <&rst1 5>, <&rst1 7>;  gpios = <&rtk_misc_gpio 56 1 1>; };
 *       sata-port@1 { reg=<1>; phys=<&sata_phy 1>;
 *                     resets = <&rst4 10>, <&rst4 9>; gpios = <&rtk_iso_gpio 15 1 1>; };
 *   }
 *   sata_phy 子节点：sata-phy@0 resets=<&rst1 10>；sata-phy@1 resets=<&rst4 7>
 *   原厂 DTB（[V]）的 sata@9803F000 亦为
 *       clocks = <0x2f 2> <0x2f 7> <0x30 0x19> <0x30 0x1a>   （与上面逐个对上）
 *
 * ★ wrap/PHY 寄存器块的基址 = 0x9803FF60（= rbus 偏移 0x3ff60）
 *   依据：6.6 的 ahci_rtk.c 与 phy-rtk-sata.c 用的是**同一个块**
 *     ahci_rtk.c   : #define REG_CLKEN 0x18 / REG_SRAM_CTL3 0xf0
 *     phy-rtk-sata.c: #define REG_CLKEN 0x18 / REG_SATA_CTRL 0x20 /
 *                     REG_PHY_CTRL 0x50 / REG_MDIO_CTRL 0x60
 *     而 phy-rtk-sata.c:689-690 明确 `base = devm_ioremap_resource(reg[0])`，
 *     reg[0] 就是官方 1296 的 0x9803FF60 ⇒ ahci 的 wrapper 也必须是它。
 *   ✗ 早前两版草稿都错了：
 *       v1 写 sata-phy@3ff00 —— 那是 13xx 的布局（13xx AHCI 只占 0x3f000+0xf00）；
 *       v2 写 &sb2 { sata-wrap@900 }（=0x9801a900）—— 那是原厂 DTB 里
 *          AHCI 的**第二段 reg**，属于 4.9 驱动 platform_get_resource(...,1) 的用法，
 *          偏移对不上 6.6 驱动要写的 0x18/0xf0（会写进 sb2 里的无关寄存器）。
 *
 * ★ 时钟映射（6.6 头文件 vs 厂商树，已逐位核对）
 *   clk_en_1:2  → RTD1295_CRT_CLK_EN_SATA_0        (cc 0xc bit2)
 *   clk_en_1:7  → RTD1295_CRT_CLK_EN_SATA_ALIVE_0  (cc 0xc bit7)
 *   clk_en_2:25 → RTD1295_CRT_CLK_EN_SATA_1        (cc 0x10 bit25)
 *   clk_en_2:26 → RTD1295_CRT_CLK_EN_SATA_ALIVE_1  (cc 0x10 bit26)
 *   依据：clk-rtd1295-cc.c:214-236 与 :430-440 定义的 gate 偏移，
 *        与厂商 DTB 的 clock-output-names 顺序完全一致。
 *
 * ★ 复位映射（同样是官方 rst1/rst4 → 6.6 宏，已逐位核对）
 *   rst1:5  → RTD1295_CRT_RSTN_SATA_0          (BANK_1 bit5 , cc+0x00)
 *   rst1:7  → RTD1295_CRT_RSTN_SATA_PHY_0      (BANK_1 bit7 , cc+0x00)
 *   rst1:10 → RTD1295_CRT_RSTN_SATA_PHY_POW_0  (BANK_1 bit10, cc+0x00)
 *   rst4:10 → RTD1295_CRT_RSTN_SATA_1          (BANK_4 bit10, cc+0x50)
 *   rst4:9  → RTD1295_CRT_RSTN_SATA_PHY_1      (BANK_4 bit9 , cc+0x50)
 *   rst4:7  → RTD1295_CRT_RSTN_SATA_PHY_POW_1  (BANK_4 bit7 , cc+0x50)
 *   依据：厂商 rst1_init/rst4_init 的 reset-names 是 MSB-first，
 *        把 32 个名字折回 LSB-first 后与 rtd1295-reset.h 32/32 完全吻合；
 *        reset bank 偏移 {0x00,0x04,0x50} 也与原厂 0x98000000/04/50 一致
 *        （drivers/clk/realtek/clk-rtd1295-cc.c:609-613）。
 *
 * ★ GPIO（硬盘供电/上电脚）—— 【2026-10-04 已接，见上方 sata-port@0】
 *   官方 1296 用 misc_gpio56 / iso_gpio15，原厂 DTB 用 misc_gpio56 / misc_gpio19
 *   （第 2 个有出入，待实测确认）。6.6 驱动走子节点 `sata-gpios` 可选属性；
 *   misc GPIO 控制器 + misc irq-mux 已在本文件 1.5 节实例化。
 *   【历史教训】早先以为 GPIO 缺失只 dev_warn 不致命就不写——结果盘根本没上电，
 *   SStatus 0 的真因一半在这里（另一半是没接 PHY）。
 */

/*
 * SB2 块（0x9801A000）下的 chip-info —— SoC 身份寄存器
 *
 * ★ 为什么必须有它：drivers/phy/realtek/phy-rtk-sata.c 整个模拟 PHY 参数表
 *   都包在 `soc_device_match(rtk_soc_kylin)` 里（family = "Realtek Kylin"），
 *   power_on() 的 REG_SB2_PHY_CTRL(sb2+0x980) 写入也是。没有 soc_device
 *   注册，soc_device_match 永远返回 NULL → kylin 分支整段跳过 → PHY 死
 *   （SStatus 0）。
 *   注册者 rtk_chip.c（CONFIG_REALTEK_CHIP_INFO=y）绑 compatible
 *   "realtek,soc-chip"，从 reg[0] 读 chip_id(+0)/chip_rev(+4)。
 *
 * ★ 金坐标：厂商 4.9 rtd129x/rtk_chip.c:15-17
 *     SB2_BASE_ADDR 0x9801A000 + CHIP_ID 0x200 / CHIP_REV 0x204
 *   同族写法先例：本树 rtd16xxb.dtsi `&sb2 { chip: chip-info@200 }`。
 *   sb2 节点是 "syscon","simple-mfd" 带 ranges，子节点 reg 是块内偏移。
 *
 *   iso-syscon：rtk_chip.c rtd129x_name() 读 iso+0x28 的 BIT11 判
 *   1296/1295（厂商 4.9 用 CHIP_INFO1=0x98007028，BIT11=RTK1296_CPU_MASK），
 *   不给的话只报成 "RTD1295" 并带一条警告，不影响功能；顺手给上。
 */
&sb2 {
	chip_info: chip-info@200 {
		compatible = "realtek,soc-chip";
		reg = <0x200 0x8>;
		iso-syscon = <&iso>;
	};
};

&rbus {
	/* SATA wrap / PHY 寄存器块（官方 1296 基址 0x9803FF60）。
	 * 注意：它在地址上**与下面的 AHCI 窗口 (0x3f000..0x40000) 重叠** ——
	 * 这是官方布局，syscon 走 of_iomap 不申请 mem region，不会冲突。 */
	sata_wrap_cm360: sata-wrap@3ff60 {
		compatible = "syscon";
		reg = <0x3ff60 0x100>;
	};

	/* SATA 模拟 PHY —— 2026-10-04 第二轮：没有它 SATA link down (SStatus 0)
	 *
	 * ★ 为什么必须有：第一轮实测 ahci_rtk probe 全过、IRQ(hwirq 60) 都挂上了，
	 *   但 ata1/ata2 双双 "SATA link down (SStatus 0 SControl 300)" —— PHY
	 *   层完全没上电。libahci 只有在端口子节点写了 `phys` 时才会走
	 *   phy_init()/phy_power_on()，而 phy-rtk-sata.c 的 kylin 分支正是在
	 *   init() 里用 MDIO 写整张模拟参数表、在 power_on() 里写
	 *   REG_SB2_PHY_CTRL（= sb2+0x980 = 0x9801A980，厂商 dtsi 里
	 *   sata_phy 的第二段 reg <0x9801a980 0x10> 就是这个寄存器）。
	 *
	 * ★ 金坐标（官方 1296 dtsi 逐字核对，GitHub Staars/BPI-W2-bsp）：
	 *     rtd-129x-sata.dtsi: sata_phy@9803FF60 { reg = <0x9803FF60 0x100>,
	 *                          <0x9801a980 0x10>; #phy-cells = <1>; }
	 *   6.6 驱动把第二段 reg 改成了 syscon phandle（realtek,phyctl），
	 *   偏移 0x980 → 恰好落在本树 sb2（0x9801A000, size 0x1000）内。
	 *
	 * ★ 地址与 sata-wrap 重叠（官方布局）。phy-rtk-sata.c 原本用
	 *   devm_ioremap_resource（会 request_mem_region），与 AHCI 的
	 *   0x3f000..0x40000 窗口必撞 EBUSY —— 已打补丁改 devm_of_iomap
	 *   （不申请 region，与 syscon 同策略）。
	 *
	 * ★ clocks：官方 overlay 给 sata_phy clocks = <&clk_en_1 7>，即
	 *   SATA_ALIVE_0；驱动 probe 时 of_clk_get 循环取并 enable。
	 *   子节点 reg 是端口号（xlate 按 args[0] 匹配）。
	 */
	sata_phy_cm360: sata-phy@3ff60 {
		compatible = "realtek,rtk-sata-phy";
		reg = <0x3ff60 0x100>;
		realtek,phyctl = <&sb2>;
		clocks = <&cc RTD1295_CRT_CLK_EN_SATA_ALIVE_0>;
		#address-cells = <1>;
		#size-cells = <0>;
		#phy-cells = <1>;
		status = "okay";

		sata-phy@0 { reg = <0>; };
		sata-phy@1 { reg = <1>; };
	};

	sata: sata@3f000 {
		compatible = "realtek,ahci-sata";
		reg = <0x3f000 0x1000>;
		interrupts = <GIC_SPI 28 IRQ_TYPE_LEVEL_HIGH>;
		clocks = <&cc RTD1295_CRT_CLK_EN_SATA_0>,
			 <&cc RTD1295_CRT_CLK_EN_SATA_ALIVE_0>,
			 <&cc RTD1295_CRT_CLK_EN_SATA_1>,
			 <&cc RTD1295_CRT_CLK_EN_SATA_ALIVE_1>;
		/* 节点级：MAC + PHY 复位，enable_resources 时整组 deassert */
		resets = <&cc RTD1295_CRT_RSTN_SATA_0>,
			 <&cc RTD1295_CRT_RSTN_SATA_PHY_0>,
			 <&cc RTD1295_CRT_RSTN_SATA_1>,
			 <&cc RTD1295_CRT_RSTN_SATA_PHY_1>;
		realtek,satawrap = <&sata_wrap_cm360>;
		#address-cells = <1>;
		#size-cells = <0>;
		status = "okay";

		/* 子节点 = 端口。reg 与 resets 都是硬性要求：
		 * 缺 reg → -EINVAL；缺 resets → -ENOENT。
		 * 这里给的是 PHY 上电复位（官方 rst1:10 / rst4:7）。
		 *
		 * ★ sata-gpios（2026-10-04 加入）—— 硬盘供电脚！
		 *   前几轮 link down (SStatus 0) 的最终根因：盘没上电（用户实测
		 *   盘不转）。官方 1296 dtsi 端口 0 用 misc_gpio56（vendor 4.9
		 *   ahci_rtk.c probe 时 gpio_set_value 拉高）。6.6 ahci_rtk.c:178
		 *   在端口子节点上以 GPIOD_OUT_HIGH 申请 "sata"（属性名 sata-gpios），
		 *   缺失只 dev_warn —— 但缺了盘就没电，所以必须写。
		 *   端口 1（官方 iso_gpio15）暂不接：iso GPIO 控制器未实例化，
		 *   缺失只 warn；CM360 的 12T 盘在端口 0。
		 */
		sata-port@0 {
			reg = <0>;
			phys = <&sata_phy_cm360 0>;	/* 官方: phys=<&sata_phy 0> */
			resets = <&cc RTD1295_CRT_RSTN_SATA_PHY_POW_0>;
			sata-gpios = <&misc_gpio 56 GPIO_ACTIVE_HIGH>;
		};

		sata-port@1 {
			reg = <1>;
			phys = <&sata_phy_cm360 1>;	/* 官方: phys=<&sata_phy 1> */
			resets = <&cc RTD1295_CRT_RSTN_SATA_PHY_POW_1>;
		};
	};
};

/* ═══════════════════════════════════════════════════════════════════════
 * 附：下一轮要补的节点（金坐标已备，方案未定，故暂不出现在树里）
 * ═══════════════════════════════════════════════════════════════════════
 * irq-mux（[V] intc@9801B000, compatible "Realtek,rtk-irq-mux"）:
 *     reg（2 段, 父节点视角）= <0x9801b000 0x100>, <0x98007000 0x100>
 *     interrupts = <GIC SPI 40>, <GIC SPI 41>
 *     intr-status = <0x0c(misc), 0x00(iso)>   intr-en = <0x80(misc), 0x40(iso)>
 *   → 与 6.6 驱动逐字段吻合：
 *       rtd129x_misc_irq_mux_info: isr 0x0c, umsk 0x08, scpu_int_en 0x80
 *       rtd129x_iso_irq_mux_info : isr 0x00, umsk 0x04, scpu_int_en 0x40
 *   对应本树 compatible: "realtek,rtd129x-iso-irq-mux" / "realtek,rtd129x-misc-irq-mux"
 *   ⚠ 驱动里 rtd129x-misc-irq-mux 的 .data 被误写成 &rtd129x_iso_irq_mux_info
 *     （复制粘贴 bug，见 irq-realtek-mux.c:825），使用前需先修。
 *
 * iso irq-mux（已启用，见第 1 节）✔
 *
 * misc irq-mux + misc_gpio（已启用，见第 1.5 节）✔
 *     misc: [V] reg = <0x9801b000 0x100>, <0x9801b100 0x100>, num 101
 *     （0x9801b000 块由树内 rtd129x.dtsi 的 misc syscon@1b000 提供）
 *     ⚠ 曾踩坑：6.6 驱动 rtd129x-misc-irq-mux 的 .data 复制粘贴 bug
 *       （误指 iso info），已修复 —— 使用前确认补丁还在树里。
 *     后续可补 iso_gpio（0x98007000/0x98007100, num 35，挂 iso_irq_mux
 *     bit 19/20）以支持 sata-port@1 供电与 SD 卡。
 *
 * pinctrl（[V] pinctrl@9801A000, 老式 "rtk119x,rtk119x-pinctrl"）:
 *     reg = <0x9801a000 0x97c>, <0x9804d000 0x10>,
 *           <0x98012000 0x640>, <0x98007000 0x340>
 *   本树新式 compatible 有 4 个候选：rtd1295-iso/sb2/disp/cr-pinctrl
 *   （pinctrl-rtd.c:812-815）。映射关系未定，且 rtd_pinctrl_probe 只
 *   of_iomap(reg[0])，需先确认哪个 desc 对应 0x9801a000 这块。
 */
